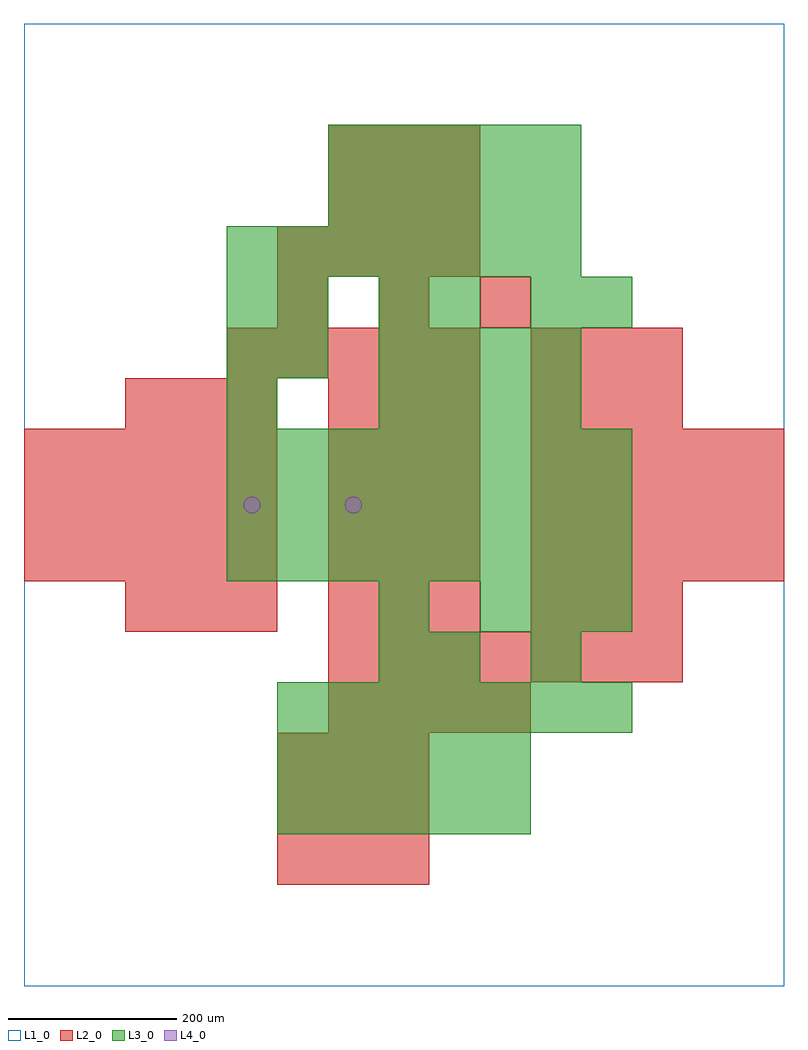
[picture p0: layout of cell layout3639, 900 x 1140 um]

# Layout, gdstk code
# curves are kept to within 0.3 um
import gdstk
lib = gdstk.Library(unit=1e-6, precision=1e-09)
def R(c, l, rs):  # rectangles x0, y0, x1, y1
    for r in rs: c.add(gdstk.rectangle(r[:2], r[2:], *l))
def A(c, l, x, y, w, h, nx, ny, dx, dy):  # array of equal rectangles
    R(c, l, [(x+i*dx, y+j*dy, x+i*dx+w, y+j*dy+h) for i in range(nx) for j in range(ny)])
def P(c, l, *ps):  # polygons
    for p in ps: c.add(gdstk.Polygon(p, *l))
L1_0 = (1, 0)
L2_0 = (2, 0)
L3_0 = (3, 0)
L4_0 = (4, 0)

layout3639 = lib.new_cell('layout3639')
R(layout3639, L1_0, [(0,0,900,1140)])
A(layout3639, L2_0, 300, 120, 60, 60, 3, 3, 60, 60)
A(layout3639, L2_0, 360, 300, 60, 60, 4, 1, 60, 0)
A(layout3639, L2_0, 360, 360, 60, 60, 7, 1, 60, 0)
A(layout3639, L2_0, 120, 420, 60, 60, 3, 2, 60, 240)
A(layout3639, L2_0, 360, 420, 60, 60, 3, 5, 60, 60)
A(layout3639, L2_0, 600, 420, 60, 60, 3, 2, 60, 240)
A(layout3639, L2_0, 0, 480, 60, 60, 5, 3, 60, 60)
A(layout3639, L2_0, 600, 480, 60, 60, 5, 3, 60, 60)
A(layout3639, L2_0, 240, 720, 60, 60, 5, 1, 60, 0)
A(layout3639, L2_0, 600, 720, 60, 60, 3, 1, 60, 0)
A(layout3639, L2_0, 300, 780, 60, 60, 3, 1, 120, 0)
A(layout3639, L2_0, 300, 840, 60, 60, 4, 1, 60, 0)
A(layout3639, L2_0, 360, 900, 60, 60, 3, 2, 60, 60)
A(layout3639, L3_0, 300, 180, 60, 60, 5, 2, 60, 60)
A(layout3639, L3_0, 300, 300, 60, 60, 7, 1, 60, 0)
A(layout3639, L3_0, 540, 420, 60, 60, 3, 1, 60, 0)
A(layout3639, L3_0, 240, 480, 60, 60, 8, 3, 60, 60)
A(layout3639, L3_0, 240, 660, 60, 60, 1, 3, 0, 60)
A(layout3639, L3_0, 420, 660, 60, 60, 4, 2, 60, 60)
A(layout3639, L3_0, 240, 840, 60, 60, 7, 1, 60, 0)
A(layout3639, L3_0, 360, 900, 60, 60, 5, 2, 60, 60)
R(layout3639, L3_0, [(420,360,480,420), (480,360,540,420), (600,360,660,420), (420,420,480,480), (300,720,360,780), (300,780,360,840), (420,780,480,840), (480,780,540,840), (600,780,660,840), (660,780,720,840)])
P(layout3639, L4_0, [(280,570),(279.239,573.827),(277.071,577.071),(273.827,579.239),(270,580),(266.173,579.239),(262.929,577.071),(260.761,573.827),(260,570),(260.761,566.173),(262.929,562.929),(266.173,560.761),(270,560),(273.827,560.761),(277.071,562.929),(279.239,566.173)],
  [(400,570),(399.239,573.827),(397.071,577.071),(393.827,579.239),(390,580),(386.173,579.239),(382.929,577.071),(380.761,573.827),(380,570),(380.761,566.173),(382.929,562.929),(386.173,560.761),(390,560),(393.827,560.761),(397.071,562.929),(399.239,566.173)])

lib.write_gds('layout3639.gds')
